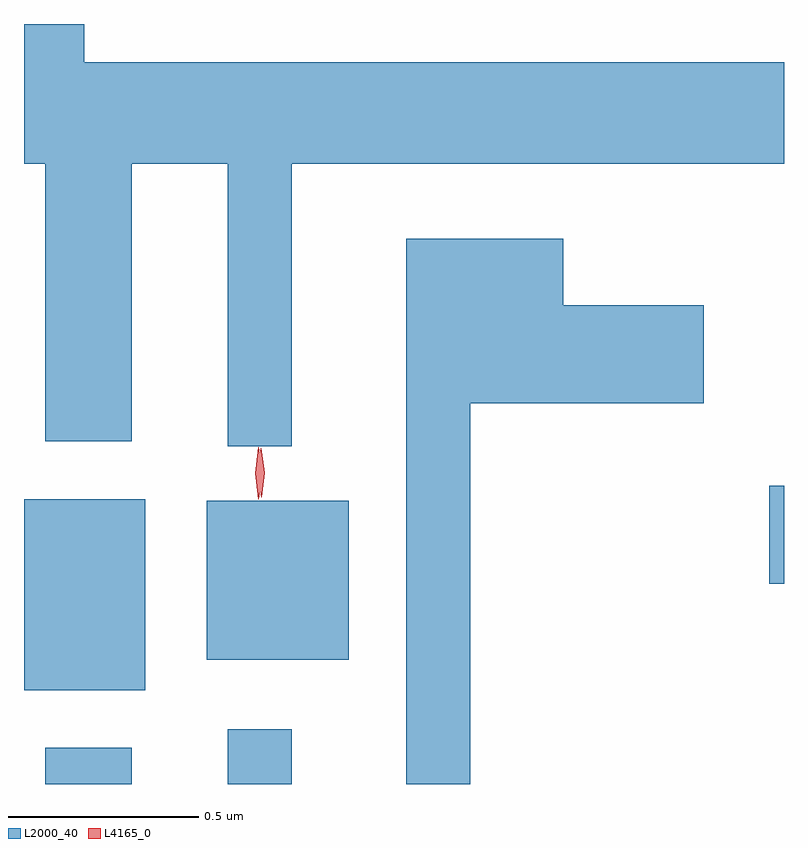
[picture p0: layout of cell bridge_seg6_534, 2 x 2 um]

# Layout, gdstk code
import gdstk
lib = gdstk.Library(unit=1e-6, precision=1e-09)
def R(c, l, rs):  # rectangles x0, y0, x1, y1
    for r in rs: c.add(gdstk.rectangle(r[:2], r[2:], *l))
def P(c, l, *ps):  # polygons
    for p in ps: c.add(gdstk.Polygon(p, *l))
L2000_40 = (2000, 40)
L4165_0 = (4165, 0)

bridge_seg6_534 = lib.new_cell('bridge_seg6_534')
R(bridge_seg6_534, L2000_40, [(834.621,1539.524,834.849,1539.619), (835.101,1539.524,835.269,1539.668), (834.565,1539.771,834.884,1540.274), (835.046,1539.851,835.419,1540.269), (836.526,1540.051,836.565,1540.309)])
P(bridge_seg6_534, L2000_40, [(835.269,1541.156),(836.565,1541.156),(836.565,1541.424),(834.724,1541.424),(834.724,1541.524),(834.565,1541.524),(834.565,1541.156),(834.621,1541.156),(834.621,1540.426),(834.849,1540.426),(834.849,1541.156),(835.101,1541.156),(835.101,1540.413),(835.269,1540.413)],
  [(835.739,1540.526),(836.354,1540.526),(836.354,1540.784),(835.984,1540.784),(835.984,1540.959),(835.571,1540.959),(835.571,1539.524),(835.739,1539.524)])
P(bridge_seg6_534, L4165_0, [(835.189,1540.278),(835.179,1540.342),(835.188,1540.407),(835.189,1540.407),(835.189,1540.407),(835.199,1540.343),(835.19,1540.278),(835.19,1540.278)],
  [(835.182,1540.274),(835.173,1540.342),(835.182,1540.41),(835.183,1540.41),(835.183,1540.41),(835.193,1540.342),(835.183,1540.274),(835.183,1540.274)])

lib.write_gds('bridge_seg6_534.gds')
